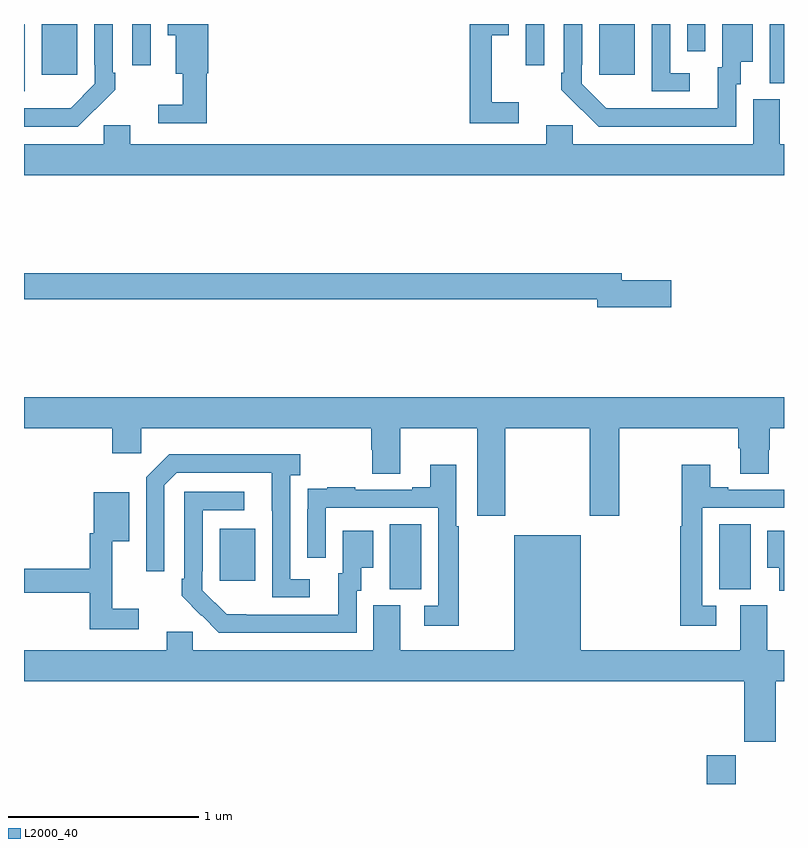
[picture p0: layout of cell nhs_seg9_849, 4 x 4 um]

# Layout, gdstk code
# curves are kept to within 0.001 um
import gdstk
lib = gdstk.Library(unit=1e-6, precision=1e-09)
def R(c, l, rs):  # rectangles x0, y0, x1, y1
    for r in rs: c.add(gdstk.rectangle(r[:2], r[2:], *l))
def P(c, l, *ps):  # polygons
    for p in ps: c.add(gdstk.Polygon(p, *l))
L2000_40 = (2000, 40)

nhs_seg9_849 = lib.new_cell('nhs_seg9_849')
R(nhs_seg9_849, L2000_40, [(158.594,1242.5,158.746,1242.651), (156.926,1243.525,157.09,1243.868), (158.66,1243.525,158.824,1243.868), (156.029,1243.569,156.217,1243.843), (155,1246.146,155.004,1246.5), (158.924,1246.189,159,1246.5), (155.093,1246.233,155.281,1246.5), (158.027,1246.233,158.215,1246.5), (155.571,1246.284,155.667,1246.5), (157.641,1246.284,157.737,1246.5), (158.49,1246.356,158.586,1246.5)])
P(nhs_seg9_849, L2000_40, [(158.503,1246.242),(158.4,1246.242),(158.4,1246.5),(158.304,1246.5),(158.304,1246.146),(158.503,1246.146)],
  [(155.963,1246.242),(155.969,1246.242),(155.969,1246.5),(155.756,1246.5),(155.756,1246.442),(155.798,1246.442),(155.798,1246.238),(155.835,1246.238),(155.835,1246.075),(155.706,1246.075),(155.706,1245.978),(155.963,1245.978)],
  [(157.603,1246.087),(157.463,1246.087),(157.463,1246.442),(157.552,1246.442),(157.552,1246.5),(157.345,1246.5),(157.345,1245.978),(157.603,1245.978)],
  [(158.748,1246.182),(158.773,1246.182),(158.773,1246.301),(158.836,1246.301),(158.836,1246.498),(158.675,1246.498),(158.675,1246.272),(158.651,1246.272),(158.651,1246.056),(158.064,1246.057),(157.935,1246.185),(157.935,1246.285),(157.938,1246.285),(157.938,1246.5),(157.842,1246.5),(157.842,1246.243),(157.827,1246.243),(157.827,1246.155),(158.024,1245.96),(158.748,1245.96)],
  [(155.375,1246.051),(155.376,1246.05),(155.481,1246.155),(155.481,1246.243),(155.466,1246.243),(155.466,1246.5),(155.37,1246.5),(155.37,1246.285),(155.373,1246.285),(155.373,1246.185),(155.245,1246.057),(155,1246.056),(155,1245.96),(155.284,1245.96)],
  [(159,1245.868),(158.977,1245.868),(158.977,1246.104),(158.837,1246.104),(158.837,1245.868),(157.887,1245.868),(157.887,1245.966),(157.748,1245.966),(157.748,1245.868),(155.56,1245.868),(155.56,1245.966),(155.421,1245.966),(155.421,1245.868),(155,1245.868),(155,1245.704),(159,1245.704)],
  [(158.407,1245.152),(158.146,1245.152),(158.146,1245.188),(155,1245.188),(155,1245.052),(158.018,1245.052),(158.018,1245.01),(158.407,1245.01)],
  [(157.533,1244.372),(157.978,1244.372),(157.978,1243.911),(158.133,1243.911),(158.133,1244.372),(158.759,1244.372),(158.759,1244.266),(158.771,1244.266),(158.771,1244.134),(158.919,1244.134),(158.919,1244.259),(158.924,1244.259),(158.924,1244.372),(159,1244.372),(159,1244.536),(155,1244.536),(155,1244.372),(155.465,1244.372),(155.465,1244.241),(155.616,1244.241),(155.616,1244.372),(156.827,1244.372),(156.827,1244.259),(156.832,1244.259),(156.832,1244.134),(156.979,1244.134),(156.979,1244.372),(157.385,1244.372),(157.385,1243.911),(157.533,1243.911)],
  [(156.505,1243.578),(156.402,1243.578),(156.402,1244.126),(156.454,1244.126),(156.454,1244.236),(155.764,1244.236),(155.643,1244.115),(155.643,1243.62),(155.739,1243.62),(155.739,1244.073),(155.805,1244.139),(156.305,1244.139),(156.306,1243.482),(156.505,1243.482)],
  [(158.644,1243.437),(158.571,1243.437),(158.571,1243.953),(159,1243.953),(159,1244.049),(158.707,1244.049),(158.707,1244.062),(158.611,1244.062),(158.611,1244.179),(158.463,1244.179),(158.463,1243.856),(158.455,1243.856),(158.455,1243.332),(158.644,1243.332)],
  [(157.288,1243.856),(157.275,1243.856),(157.275,1244.179),(157.139,1244.179),(157.139,1244.062),(157.043,1244.062),(157.043,1244.049),(156.743,1244.049),(156.743,1244.062),(156.595,1244.062),(156.595,1244.055),(156.493,1244.055),(156.493,1243.946),(156.492,1243.946),(156.492,1243.692),(156.588,1243.692),(156.588,1243.953),(157.179,1243.953),(157.179,1243.437),(157.107,1243.437),(157.107,1243.332),(157.288,1243.332)],
  [(156.75,1243.518),(156.775,1243.518),(156.775,1243.637),(156.838,1243.637),(156.838,1243.834),(156.677,1243.834),(156.677,1243.608),(156.653,1243.608),(156.653,1243.392),(156.066,1243.393),(155.937,1243.521),(155.937,1243.621),(155.94,1243.621),(155.94,1243.941),(156.16,1243.941),(156.16,1244.037),(155.844,1244.037),(155.844,1243.579),(155.829,1243.579),(155.829,1243.491),(156.026,1243.296),(156.75,1243.296)],
  [(155.605,1243.423),(155.465,1243.423),(155.465,1243.778),(155.554,1243.778),(155.554,1244.035),(155.366,1244.035),(155.366,1243.821),(155.347,1243.821),(155.347,1243.634),(155,1243.634),(155,1243.506),(155.347,1243.506),(155.347,1243.314),(155.605,1243.314)],
  [(159,1243.834),(158.912,1243.834),(158.912,1243.637),(158.975,1243.637),(158.975,1243.518),(159,1243.518)],
  [(158.956,1243.04),(159,1243.04),(159,1243.204),(158.911,1243.204),(158.911,1243.44),(158.771,1243.44),(158.771,1243.204),(157.93,1243.204),(157.93,1243.81),(157.58,1243.81),(157.58,1243.204),(156.979,1243.204),(156.979,1243.44),(156.839,1243.44),(156.839,1243.204),(155.889,1243.204),(155.889,1243.302),(155.75,1243.302),(155.75,1243.204),(155,1243.204),(155,1243.04),(158.792,1243.04),(158.792,1242.723),(158.956,1242.723)])

lib.write_gds('nhs_seg9_849.gds')
